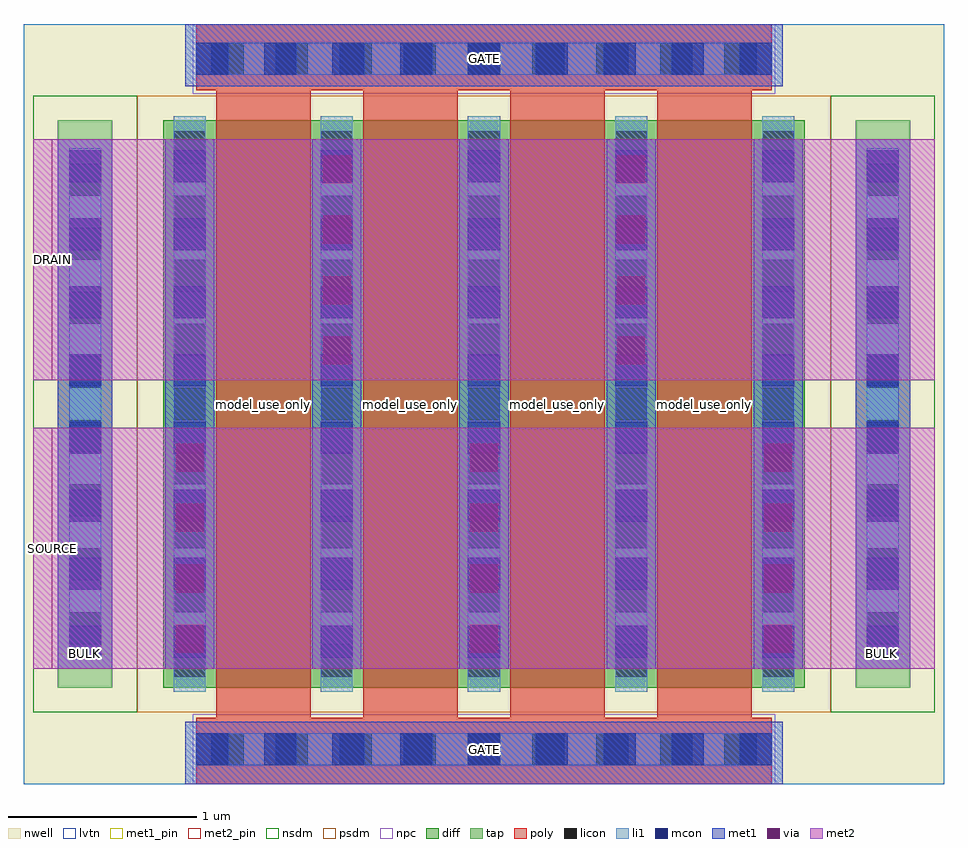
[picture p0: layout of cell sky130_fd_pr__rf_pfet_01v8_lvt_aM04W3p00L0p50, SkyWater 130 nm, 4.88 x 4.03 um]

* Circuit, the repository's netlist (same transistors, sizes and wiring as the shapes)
* Copyright 2020 The SkyWater PDK Authors
*
* Licensed under the Apache License, Version 2.0 (the "License");
* you may not use this file except in compliance with the License.
* You may obtain a copy of the License at
*
*     https://www.apache.org/licenses/LICENSE-2.0
*
* Unless required by applicable law or agreed to in writing, software
* distributed under the License is distributed on an "AS IS" BASIS,
* WITHOUT WARRANTIES OR CONDITIONS OF ANY KIND, either express or implied.
* See the License for the specific language governing permissions and
* limitations under the License.
*
* SPDX-License-Identifier: Apache-2.0


.subckt sky130_fd_pr__rf_pfet_01v8_lvt_aM04W3p00L0p50 BULK DRAIN GATE SOURCE
X0 DRAIN GATE SOURCE BULK sky130_fd_pr__pfet_01v8_lvt w=3.01e+06u l=500000u
X1 SOURCE GATE DRAIN BULK sky130_fd_pr__pfet_01v8_lvt w=3.01e+06u l=500000u
X2 DRAIN GATE SOURCE BULK sky130_fd_pr__pfet_01v8_lvt w=3.01e+06u l=500000u
X3 SOURCE GATE DRAIN BULK sky130_fd_pr__pfet_01v8_lvt w=3.01e+06u l=500000u
.ends

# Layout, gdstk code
import gdstk
lib = gdstk.Library(unit=1e-6, precision=1e-09)
def R(c, l, rs):  # rectangles x0, y0, x1, y1
    for r in rs: c.add(gdstk.rectangle(r[:2], r[2:], *l))
def A(c, l, x, y, w, h, nx, ny, dx, dy):  # array of equal rectangles
    R(c, l, [(x+i*dx, y+j*dy, x+i*dx+w, y+j*dy+h) for i in range(nx) for j in range(ny)])
nwell = (64, 20)
diff = (65, 20)
tap = (65, 44)
poly = (66, 20)
licon = (66, 44)
li1 = (67, 20)
mcon = (67, 44)
met1_pin = (68, 16)
met1 = (68, 20)
via = (68, 44)
met2_pin = (69, 16)
met2 = (69, 20)
nsdm = (93, 44)
psdm = (94, 20)
npc = (95, 20)
lvtn = (125, 44)

sky130_fd_pr__rf_pfet_01 = lib.new_cell('sky130_fd_pr__rf_pfet_01v8_lvt_aM04W3p00L0p50')
R(sky130_fd_pr__rf_pfet_01, nwell, [(0,0,4.88,4.03)])
R(sky130_fd_pr__rf_pfet_01, diff, [(0.74,0.51,4.14,3.52)])
R(sky130_fd_pr__rf_pfet_01, tap, [(0.18,0.51,0.47,3.52), (4.41,0.51,4.7,3.52)])
A(sky130_fd_pr__rf_pfet_01, poly, 1.02, 0.35, 0.5, 3.33, 4, 1, 0.78, 0)
R(sky130_fd_pr__rf_pfet_01, poly, [(0.915,0,3.965,0.35), (0.915,3.68,3.965,4.03)])
A(sky130_fd_pr__rf_pfet_01, licon, 0.995, 0.1, 0.17, 0.17, 9, 2, 0.34, 3.66)
A(sky130_fd_pr__rf_pfet_01, licon, 0.795, 0.57, 0.17, 0.17, 5, 9, 0.78, 0.34)
A(sky130_fd_pr__rf_pfet_01, licon, 0.24, 0.74, 0.17, 0.17, 1, 8, 0, 0.34)
A(sky130_fd_pr__rf_pfet_01, licon, 4.47, 0.74, 0.17, 0.17, 1, 8, 0, 0.34)
A(sky130_fd_pr__rf_pfet_01, li1, 0.795, 0.49, 0.17, 3.05, 5, 1, 0.78, 0)
A(sky130_fd_pr__rf_pfet_01, li1, 0.795, 0.67, 0.17, 2.69, 5, 1, 0.78, 0)
R(sky130_fd_pr__rf_pfet_01, li1, [(0.915,0.1,3.965,0.27), (0.24,0.66,0.41,3.37), (4.47,0.66,4.64,3.37), (0.24,0.67,0.41,3.36), (4.47,0.67,4.64,3.36), (0.915,3.76,3.965,3.93)])
A(sky130_fd_pr__rf_pfet_01, mcon, 0.915, 0.1, 0.17, 0.17, 9, 2, 0.36, 3.66)
A(sky130_fd_pr__rf_pfet_01, mcon, 0.24, 0.67, 0.17, 0.17, 1, 8, 0, 0.36)
A(sky130_fd_pr__rf_pfet_01, mcon, 0.795, 0.67, 0.17, 0.17, 5, 8, 0.78, 0.36)
A(sky130_fd_pr__rf_pfet_01, mcon, 4.47, 0.67, 0.17, 0.17, 1, 8, 0, 0.36)
R(sky130_fd_pr__rf_pfet_01, met1_pin, [(0.855,0,4.025,0.33), (0.18,0.61,0.47,0.69), (4.41,0.61,4.7,0.69), (0.855,3.7,4.025,4.03)])
A(sky130_fd_pr__rf_pfet_01, met1, 0.75, 0.61, 0.26, 1.28, 3, 1, 1.56, 0)
A(sky130_fd_pr__rf_pfet_01, met1, 0.75, 0.61, 0.26, 2.81, 5, 1, 0.78, 0)
R(sky130_fd_pr__rf_pfet_01, met1, [(0.855,0,4.025,0.33), (0.18,0.61,0.47,3.42), (4.41,0.61,4.7,3.42), (1.53,2.14,1.79,3.42), (3.09,2.14,3.35,3.42), (0.855,3.7,4.025,4.03)])
A(sky130_fd_pr__rf_pfet_01, via, 0.805, 0.695, 0.15, 0.15, 3, 4, 1.56, 0.32)
A(sky130_fd_pr__rf_pfet_01, via, 1.585, 2.225, 0.15, 0.15, 1, 4, 0, 0.32)
A(sky130_fd_pr__rf_pfet_01, via, 3.145, 2.225, 0.15, 0.15, 1, 4, 0, 0.32)
R(sky130_fd_pr__rf_pfet_01, met2_pin, [(0.05,0.61,0.15,1.89), (0.05,2.14,0.15,3.42)])
A(sky130_fd_pr__rf_pfet_01, met2, 0.75, 0.61, 0.26, 1.28, 3, 1, 1.56, 0)
R(sky130_fd_pr__rf_pfet_01, met2, [(0.05,0.61,4.83,1.89), (0.05,2.14,4.83,3.42), (1.53,2.14,1.79,3.42), (3.09,2.14,3.35,3.42)])
R(sky130_fd_pr__rf_pfet_01, nsdm, [(0.05,0.38,0.6,3.65), (4.28,0.38,4.83,3.65)])
R(sky130_fd_pr__rf_pfet_01, psdm, [(0.6,0.38,4.28,3.65)])
R(sky130_fd_pr__rf_pfet_01, npc, [(0.895,0,3.985,0.37), (0.895,3.66,3.985,4.03)])
R(sky130_fd_pr__rf_pfet_01, lvtn, [(0,0,4.88,4.03)])
sky130_fd_pr__rf_pfet_01.add(gdstk.Label('model_use_only', (2.05,2.01), layer=66, texttype=83))
sky130_fd_pr__rf_pfet_01.add(gdstk.Label('model_use_only', (1.27,2.01), layer=66, texttype=83))
sky130_fd_pr__rf_pfet_01.add(gdstk.Label('model_use_only', (2.83,2.01), layer=66, texttype=83))
sky130_fd_pr__rf_pfet_01.add(gdstk.Label('model_use_only', (3.61,2.01), layer=66, texttype=83))
sky130_fd_pr__rf_pfet_01.add(gdstk.Label('DRAIN', (0.15,2.78), layer=69, texttype=5))
sky130_fd_pr__rf_pfet_01.add(gdstk.Label('SOURCE', (0.15,1.25), layer=69, texttype=5))
sky130_fd_pr__rf_pfet_01.add(gdstk.Label('BULK', (4.55,0.69), layer=68, texttype=5))
sky130_fd_pr__rf_pfet_01.add(gdstk.Label('BULK', (0.32,0.69), layer=68, texttype=5))
sky130_fd_pr__rf_pfet_01.add(gdstk.Label('GATE', (2.44,0.185), layer=68, texttype=5))
sky130_fd_pr__rf_pfet_01.add(gdstk.Label('GATE', (2.44,3.845), layer=68, texttype=5))

lib.write_gds('sky130_fd_pr__rf_pfet_01v8_lvt_aM04W3p00L0p50.gds')
